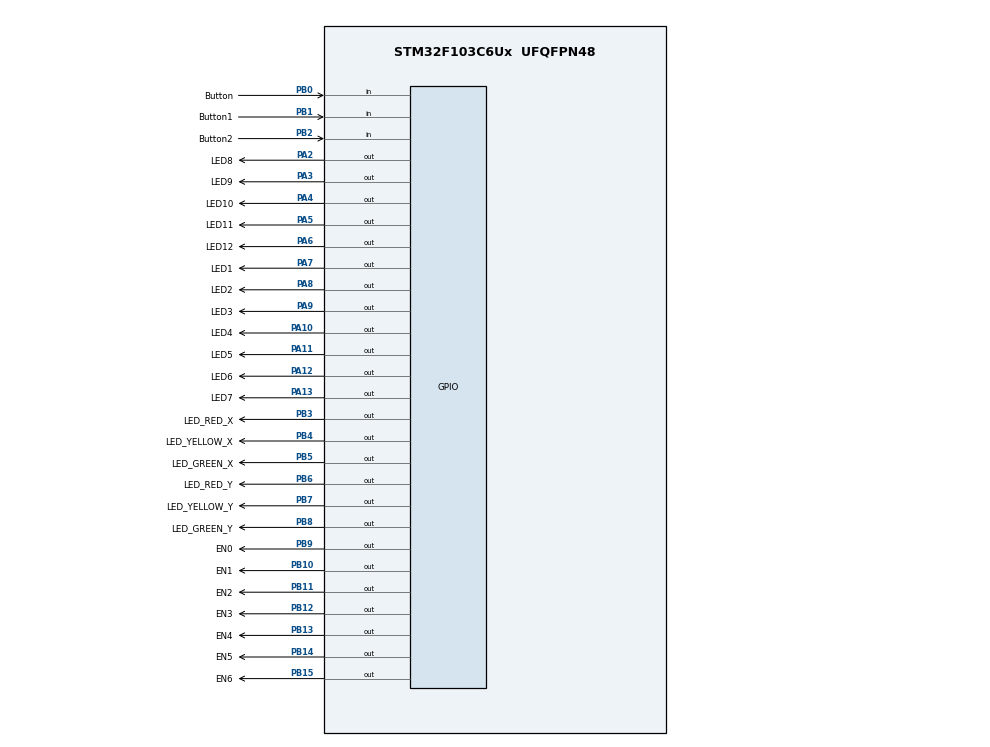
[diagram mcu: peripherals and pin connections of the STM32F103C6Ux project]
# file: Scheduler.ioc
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Mcu.Family=STM32F1
Mcu.Name=STM32F103C6Ux
Mcu.Package=UFQFPN48
NVIC.PriorityGroup=NVIC_PRIORITYGROUP_4
NVIC.TIM2_IRQn=true\:0\:0\:false\:false\:true\:true\:true
PA10.GPIO_Label=LED4
PA10.Signal=GPIO_Output
PA11.GPIO_Label=LED5
PA11.Signal=GPIO_Output
PA12.GPIO_Label=LED6
PA12.Signal=GPIO_Output
PA13.GPIO_Label=LED7
PA13.Signal=GPIO_Output
PA2.GPIO_Label=LED8
PA2.Signal=GPIO_Output
PA3.GPIO_Label=LED9
PA3.Signal=GPIO_Output
PA4.GPIO_Label=LED10
PA4.Signal=GPIO_Output
PA5.GPIO_Label=LED11
PA5.Signal=GPIO_Output
PA6.GPIO_Label=LED12
PA6.Signal=GPIO_Output
PA7.GPIO_Label=LED1
PA7.Signal=GPIO_Output
PA8.GPIO_Label=LED2
PA8.Signal=GPIO_Output
PA9.GPIO_Label=LED3
PA9.Signal=GPIO_Output
PB0.GPIO_Label=Button
PB0.GPIO_PuPd=GPIO_PULLUP
PB0.Signal=GPIO_Input
PB1.GPIO_Label=Button1
PB1.GPIO_PuPd=GPIO_PULLUP
PB1.Signal=GPIO_Input
PB10.GPIO_Label=EN1
PB10.Signal=GPIO_Output
PB11.GPIO_Label=EN2
PB11.Signal=GPIO_Output
PB12.GPIO_Label=EN3
PB12.Signal=GPIO_Output
PB13.GPIO_Label=EN4
PB13.Signal=GPIO_Output
PB14.GPIO_Label=EN5
PB14.Signal=GPIO_Output
PB15.GPIO_Label=EN6
PB15.Signal=GPIO_Output
PB2.GPIO_Label=Button2
PB2.GPIO_PuPd=GPIO_PULLUP
PB2.Signal=GPIO_Input
PB3.GPIO_Label=LED_RED_X
PB3.Signal=GPIO_Output
PB4.GPIO_Label=LED_YELLOW_X
PB4.Signal=GPIO_Output
PB5.GPIO_Label=LED_GREEN_X
PB5.Signal=GPIO_Output
PB6.GPIO_Label=LED_RED_Y
PB6.Signal=GPIO_Output
PB7.GPIO_Label=LED_YELLOW_Y
PB7.Signal=GPIO_Output
PB8.GPIO_Label=LED_GREEN_Y
PB8.Signal=GPIO_Output
PB9.GPIO_Label=EN0
PB9.Signal=GPIO_Output
ProjectManager.HeapSize=0x200
ProjectManager.StackSize=0x400
ProjectManager.TargetToolchain=STM32CubeIDE
RCC.APB1Freq_Value=8000000
RCC.APB2Freq_Value=8000000
TIM2.Period=9
TIM2.Prescaler=7999
VP_SYS_VS_ND.Mode=No_Debug
VP_TIM2_VS_ClockSourceINT.Mode=Internal
board=custom

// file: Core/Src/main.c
/* USER CODE BEGIN Header */
/**
  ******************************************************************************
  * @file           : main.c
  * @brief          : Main program body
  ******************************************************************************
  * @attention
  *
  * <h2><center>&copy; Copyright (c) 2024 STMicroelectronics.
  * All rights reserved.</center></h2>
  *
  * This software component is licensed by ST under BSD 3-Clause license,
  * the "License"; You may not use this file except in compliance with the
  * License. You may obtain a copy of the License at:
  *                        opensource.org/licenses/BSD-3-Clause
  *
  ******************************************************************************
  */
/* USER CODE END Header */
#include "main.h"

/* USER CODE BEGIN Includes */
#include "Scheduler.h"
#include "Task.h"
#include "fsm_automatic.h"
#include "fsm_manual.h"
#include "input_processing.h"
/* USER CODE END Includes */

TIM_HandleTypeDef htim2;

void SystemClock_Config(void);
static void MX_GPIO_Init(void);
static void MX_TIM2_Init(void);

int main(void)
{

  /* MCU Configuration--------------------------------------------------------*/

  /* Reset of all peripherals, Initializes the Flash interface and the Systick. */
  HAL_Init();

  /* Configure the system clock */
  SystemClock_Config();

  /* Initialize all configured peripherals */
  MX_GPIO_Init();
  MX_TIM2_Init();
  /* USER CODE BEGIN 2 */
  HAL_TIM_Base_Start_IT(&htim2);
  /* USER CODE END 2 */

  /* Infinite loop */
  /* USER CODE BEGIN WHILE */
  	InitAllLED();
	list= createTaskList();
	statusx = INIT;
	statusy = INIT;
	counter_x = 0;
	counter_y = 0;
	counterMode = 1;
	counterTimeSet = 0;
	DisplayCounter = 0;
	SCH_Add_Task(task1, 50, 50);
	SCH_Add_Task(task2, 100, 100);
	SCH_Add_Task(task3, 150, 150);
	SCH_Add_Task(task4, 200, 200);
	SCH_Add_Task(task5, 250, 250);
	SCH_Add_Task(fsm_automatic_runx, 0, 10);
	SCH_Add_Task(fsm_automatic_runy, 0, 10);
	SCH_Add_Task(fsm_clock, 100, 25);
	SCH_Add_Task(clockX, 100, 100);
	SCH_Add_Task(clockY, 100, 100);
	SCH_Add_Task(fsm_mode, 100, 25);
	SCH_Add_Task(fsm_manual_run1, 10, 10);
	SCH_Add_Task(fsm_manual_run2, 10, 10);
	SCH_Add_Task(fsm_for_input_processing1, 10, 10);
	SCH_Add_Task(fsm_for_input_processing2, 10, 10);
	SCH_Add_Task(fsm_for_input_processing3, 10, 10);

  while (1)
  {
	  SCH_Dispatch_Tasks();
    /* USER CODE END WHILE */

  }
}

void SystemClock_Config(void)
{
  RCC_OscInitTypeDef RCC_OscInitStruct = {0};
  RCC_ClkInitTypeDef RCC_ClkInitStruct = {0};

  /** Initializes the RCC Oscillators according to the specified parameters
  * in the RCC_OscInitTypeDef structure.
  */
  RCC_OscInitStruct.OscillatorType = RCC_OSCILLATORTYPE_HSI;
  RCC_OscInitStruct.HSIState = RCC_HSI_ON;
  RCC_OscInitStruct.HSICalibrationValue = RCC_HSICALIBRATION_DEFAULT;
  RCC_OscInitStruct.PLL.PLLState = RCC_PLL_NONE;
  if (HAL_RCC_OscConfig(&RCC_OscInitStruct) != HAL_OK)
  {
    Error_Handler();
  }
  /** Initializes the CPU, AHB and APB buses clocks
  */
  RCC_ClkInitStruct.ClockType = RCC_CLOCKTYPE_HCLK|RCC_CLOCKTYPE_SYSCLK
                              |RCC_CLOCKTYPE_PCLK1|RCC_CLOCKTYPE_PCLK2;
  RCC_ClkInitStruct.SYSCLKSource = RCC_SYSCLKSOURCE_HSI;
  RCC_ClkInitStruct.AHBCLKDivider = RCC_SYSCLK_DIV1;
  RCC_ClkInitStruct.APB1CLKDivider = RCC_HCLK_DIV1;
  RCC_ClkInitStruct.APB2CLKDivider = RCC_HCLK_DIV1;

  if (HAL_RCC_ClockConfig(&RCC_ClkInitStruct, FLASH_LATENCY_0) != HAL_OK)
  {
    Error_Handler();
  }
}

static void MX_TIM2_Init(void)
{

  TIM_ClockConfigTypeDef sClockSourceConfig = {0};
  TIM_MasterConfigTypeDef sMasterConfig = {0};

  htim2.Instance = TIM2;
  htim2.Init.Prescaler = 7999;
  htim2.Init.CounterMode = TIM_COUNTERMODE_UP;
  htim2.Init.Period = 9;
  htim2.Init.ClockDivision = TIM_CLOCKDIVISION_DIV1;
  htim2.Init.AutoReloadPreload = TIM_AUTORELOAD_PRELOAD_DISABLE;
  if (HAL_TIM_Base_Init(&htim2) != HAL_OK)
  {
    Error_Handler();
  }
  sClockSourceConfig.ClockSource = TIM_CLOCKSOURCE_INTERNAL;
  if (HAL_TIM_ConfigClockSource(&htim2, &sClockSourceConfig) != HAL_OK)
  {
    Error_Handler();
  }
  sMasterConfig.MasterOutputTrigger = TIM_TRGO_RESET;
  sMasterConfig.MasterSlaveMode = TIM_MASTERSLAVEMODE_DISABLE;
  if (HAL_TIMEx_MasterConfigSynchronization(&htim2, &sMasterConfig) != HAL_OK)
  {
    Error_Handler();
  }

}

static void MX_GPIO_Init(void)
{
  GPIO_InitTypeDef GPIO_InitStruct = {0};

  /* GPIO Ports Clock Enable */
  __HAL_RCC_GPIOA_CLK_ENABLE();
  __HAL_RCC_GPIOB_CLK_ENABLE();

  /*Configure GPIO pin Output Level */
  HAL_GPIO_WritePin(GPIOA, LED8_Pin|LED9_Pin|LED10_Pin|LED11_Pin
                          |LED12_Pin|LED1_Pin|LED2_Pin|LED3_Pin
                          |LED4_Pin|LED5_Pin|LED6_Pin|LED7_Pin, GPIO_PIN_RESET);

  /*Configure GPIO pin Output Level */
  HAL_GPIO_WritePin(GPIOB, EN1_Pin|EN2_Pin|EN3_Pin|EN4_Pin
                          |EN5_Pin|EN6_Pin|LED_RED_X_Pin|LED_YELLOW_X_Pin
                          |LED_GREEN_X_Pin|LED_RED_Y_Pin|LED_YELLOW_Y_Pin|LED_GREEN_Y_Pin
                          |EN0_Pin, GPIO_PIN_RESET);

  /*Configure GPIO pins : LED8_Pin LED9_Pin LED10_Pin LED11_Pin
                           LED12_Pin LED1_Pin LED2_Pin LED3_Pin
                           LED4_Pin LED5_Pin LED6_Pin LED7_Pin */
  GPIO_InitStruct.Pin = LED8_Pin|LED9_Pin|LED10_Pin|LED11_Pin
                          |LED12_Pin|LED1_Pin|LED2_Pin|LED3_Pin
                          |LED4_Pin|LED5_Pin|LED6_Pin|LED7_Pin;
  GPIO_InitStruct.Mode = GPIO_MODE_OUTPUT_PP;
  GPIO_InitStruct.Pull = GPIO_NOPULL;
  GPIO_InitStruct.Speed = GPIO_SPEED_FREQ_LOW;
  HAL_GPIO_Init(GPIOA, &GPIO_InitStruct);

  /*Configure GPIO pins : Button_Pin Button1_Pin Button2_Pin */
  GPIO_InitStruct.Pin = Button_Pin|Button1_Pin|Button2_Pin;
  GPIO_InitStruct.Mode = GPIO_MODE_INPUT;
  GPIO_InitStruct.Pull = GPIO_PULLUP;
  HAL_GPIO_Init(GPIOB, &GPIO_InitStruct);

  /*Configure GPIO pins : EN1_Pin EN2_Pin EN3_Pin EN4_Pin
                           EN5_Pin EN6_Pin LED_RED_X_Pin LED_YELLOW_X_Pin
                           LED_GREEN_X_Pin LED_RED_Y_Pin LED_YELLOW_Y_Pin LED_GREEN_Y_Pin
                           EN0_Pin */
  GPIO_InitStruct.Pin = EN1_Pin|EN2_Pin|EN3_Pin|EN4_Pin
                          |EN5_Pin|EN6_Pin|LED_RED_X_Pin|LED_YELLOW_X_Pin
                          |LED_GREEN_X_Pin|LED_RED_Y_Pin|LED_YELLOW_Y_Pin|LED_GREEN_Y_Pin
                          |EN0_Pin;
  GPIO_InitStruct.Mode = GPIO_MODE_OUTPUT_PP;
  GPIO_InitStruct.Pull = GPIO_NOPULL;
  GPIO_InitStruct.Speed = GPIO_SPEED_FREQ_LOW;
  HAL_GPIO_Init(GPIOB, &GPIO_InitStruct);

}

/* USER CODE BEGIN 4 */
void HAL_TIM_PeriodElapsedCallback(TIM_HandleTypeDef *htim){
	if(htim -> Instance == TIM2){
		button_reading();
		SCH_Update();
	}
}
/* USER CODE END 4 */

void Error_Handler(void)
{
  __disable_irq();
  while (1)
  {
  }
}

/************************ (C) COPYRIGHT STMicroelectronics *****END OF FILE****/
